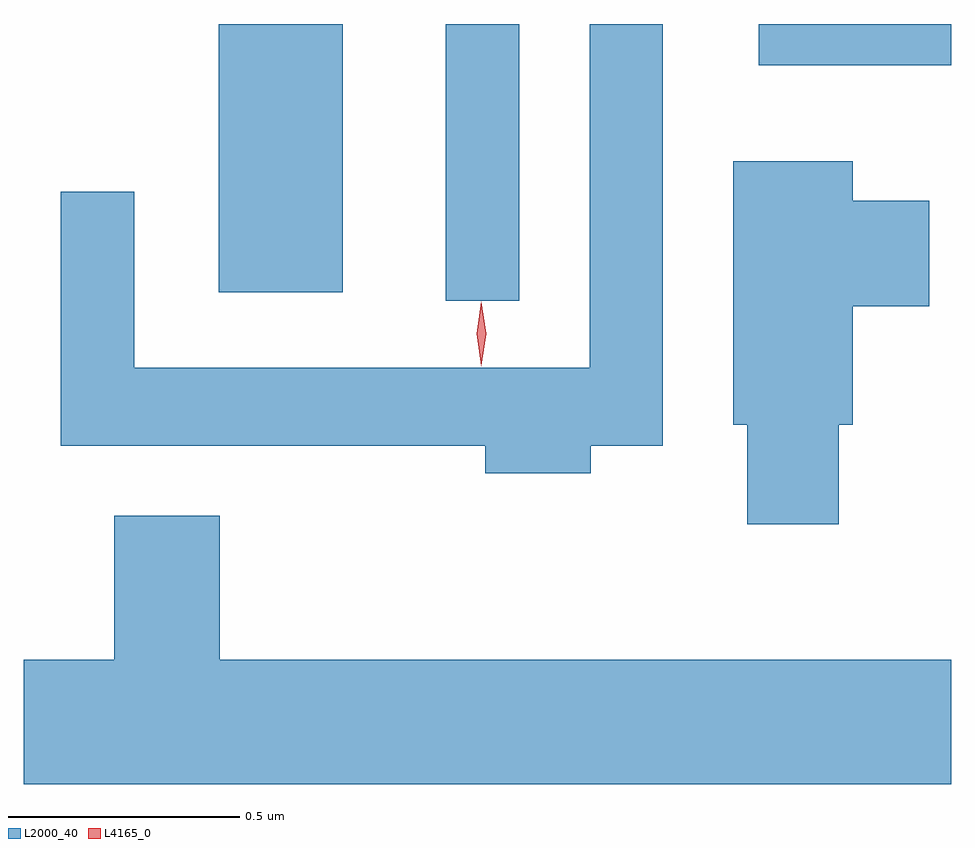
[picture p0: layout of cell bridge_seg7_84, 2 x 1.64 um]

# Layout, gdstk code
import gdstk
lib = gdstk.Library(unit=1e-6, precision=1e-09)
def R(c, l, rs):  # rectangles x0, y0, x1, y1
    for r in rs: c.add(gdstk.rectangle(r[:2], r[2:], *l))
def P(c, l, *ps):  # polygons
    for p in ps: c.add(gdstk.Polygon(p, *l))
L2000_40 = (2000, 40)
L4165_0 = (4165, 0)

bridge_seg7_84 = lib.new_cell('bridge_seg7_84')
R(bridge_seg7_84, L2000_40, [(1625.086,1784.178,1625.244,1784.775), (1624.596,1784.196,1624.864,1784.775), (1625.761,1784.686,1626.176,1784.775)])
P(bridge_seg7_84, L2000_40, [(1625.399,1783.866),(1625.554,1783.866),(1625.554,1784.775),(1625.396,1784.775),(1625.396,1784.034),(1624.414,1784.034),(1624.414,1784.413),(1624.256,1784.413),(1624.256,1783.866),(1625.171,1783.866),(1625.171,1783.806),(1625.399,1783.806)],
  [(1625.934,1783.911),(1625.964,1783.911),(1625.964,1784.166),(1626.129,1784.166),(1626.129,1784.394),(1625.964,1784.394),(1625.964,1784.479),(1625.706,1784.479),(1625.706,1783.911),(1625.736,1783.911),(1625.736,1783.696),(1625.934,1783.696)],
  [(1626.176,1783.404),(1624.599,1783.404),(1624.599,1783.714),(1624.371,1783.714),(1624.371,1783.404),(1624.176,1783.404),(1624.176,1783.136),(1626.176,1783.136)])
P(bridge_seg7_84, L4165_0, [(1625.163,1784.037),(1625.162,1784.038),(1625.153,1784.107),(1625.162,1784.176),(1625.163,1784.176),(1625.163,1784.176),(1625.173,1784.107),(1625.163,1784.038)])

lib.write_gds('bridge_seg7_84.gds')
